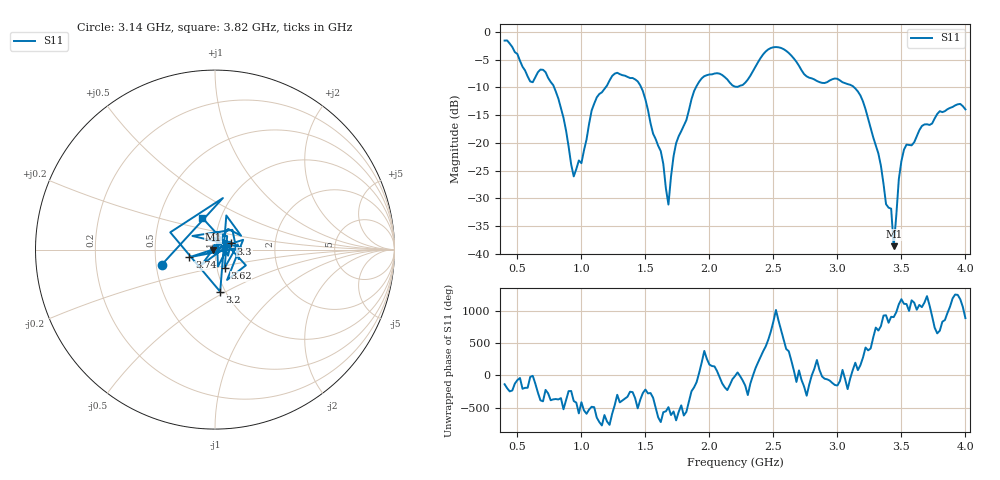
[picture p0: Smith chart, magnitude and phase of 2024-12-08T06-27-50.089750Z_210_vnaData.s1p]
!Created with skrf (http://scikit-rf.org).
# Hz S RI R 50.0
!freq ReS11 ImS11
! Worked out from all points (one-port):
!   181 points, 400 MHz to 4 GHz, reference 50 ohm
!   lowest |S11| = -38.7 dB at 3.44 GHz (marker M1), VSWR 1.02, Z = 48.8 - j0.0698 ohm
!   |S11| at or under -10 dB: 787.1 MHz to 1.189 GHz (402.1 MHz wide, 40.7 % of centre); 1.467 GHz to 1.895 GHz (427.5 MHz wide, 25.4 % of centre); 3.131 GHz to end of sweep
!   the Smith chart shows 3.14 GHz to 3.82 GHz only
!   S11 on the Smith chart (normalised r, x): 3.14 GHz: 0.53, -0.10; 3.2 GHz: 0.95, -0.47; 3.3 GHz: 1.19, +0.08; 3.62 GHz: 1.09, -0.22; 3.74 GHz: 0.75, -0.07; 3.82 GHz: 0.82, +0.30
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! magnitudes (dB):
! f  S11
! 400 MHz  -1.5
! 600 MHz  -8.9
! 720 MHz  -7.2
! 860 MHz  -15.5
! 940 MHz  -26.1
! 1.12 GHz  -11.8
! 1.3 GHz  -7.6
! 1.48 GHz  -10.7
! 1.62 GHz  -21.5
! 1.68 GHz  -31.1
! 1.76 GHz  -18.8
! 1.94 GHz  -8.4
! 2.2 GHz  -9.9
! 2.48 GHz  -2.9
! 2.66 GHz  -4.8
! 3.1 GHz  -9.5
! 3.14 GHz  -10.2
! 3.2 GHz  -12.5
! 3.3 GHz  -20.5
! 3.38 GHz  -31.1
! 3.42 GHz  -31.9
! 3.44 GHz  -38.7
! 3.5 GHz  -23.3
! 3.56 GHz  -20.4
! 3.62 GHz  -18.8
! 3.74 GHz  -16.5
! 3.82 GHz  -14.5
! 4 GHz  -14.0
